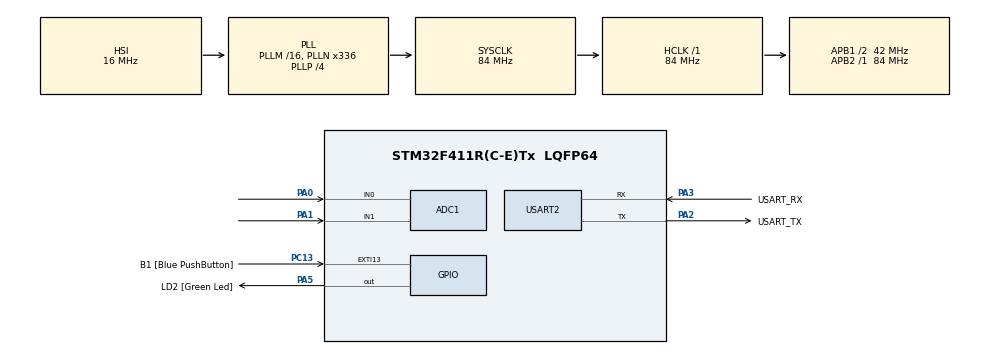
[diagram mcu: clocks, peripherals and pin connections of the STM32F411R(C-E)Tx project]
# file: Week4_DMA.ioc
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ADC1.Channel-0\#ChannelRegularConversion=ADC_CHANNEL_0
ADC1.Channel-1\#ChannelRegularConversion=ADC_CHANNEL_1
ADC1.Channel-2\#ChannelRegularConversion=ADC_CHANNEL_TEMPSENSOR
ADC1.Channel-3\#ChannelRegularConversion=ADC_CHANNEL_VREFINT
ADC1.ContinuousConvMode=ENABLE
ADC1.DMAContinuousRequests=ENABLE
ADC1.NbrOfConversion=4
ADC1.NbrOfConversionFlag=1
ADC1.Rank-0\#ChannelRegularConversion=1
ADC1.Rank-1\#ChannelRegularConversion=2
ADC1.Rank-2\#ChannelRegularConversion=3
ADC1.Rank-3\#ChannelRegularConversion=4
ADC1.SamplingTime-0\#ChannelRegularConversion=ADC_SAMPLETIME_480CYCLES
ADC1.SamplingTime-1\#ChannelRegularConversion=ADC_SAMPLETIME_480CYCLES
ADC1.SamplingTime-2\#ChannelRegularConversion=ADC_SAMPLETIME_480CYCLES
ADC1.SamplingTime-3\#ChannelRegularConversion=ADC_SAMPLETIME_480CYCLES
ADC1.master=1
Dma.ADC1.0.Direction=DMA_PERIPH_TO_MEMORY
Dma.ADC1.0.FIFOMode=DMA_FIFOMODE_DISABLE
Dma.ADC1.0.Instance=DMA2_Stream0
Dma.ADC1.0.MemDataAlignment=DMA_MDATAALIGN_WORD
Dma.ADC1.0.MemInc=DMA_MINC_ENABLE
Dma.ADC1.0.Mode=DMA_CIRCULAR
Dma.ADC1.0.PeriphDataAlignment=DMA_PDATAALIGN_WORD
Dma.ADC1.0.PeriphInc=DMA_PINC_DISABLE
Dma.ADC1.0.Priority=DMA_PRIORITY_LOW
Dma.Request0=ADC1
Mcu.Family=STM32F4
Mcu.Name=STM32F411R(C-E)Tx
Mcu.Package=LQFP64
NVIC.DMA2_Stream0_IRQn=true\:0\:0\:false\:false\:true\:false\:true
NVIC.EXTI15_10_IRQn=true\:0\:0\:false\:false\:true\:true\:true
NVIC.PriorityGroup=NVIC_PRIORITYGROUP_0
PA0-WKUP.Signal=ADCx_IN0
PA1.Signal=ADCx_IN1
PA13.GPIO_Label=TMS
PA13.Mode=Serial_Wire
PA13.Signal=SYS_JTMS-SWDIO
PA14.GPIO_Label=TCK
PA14.Mode=Serial_Wire
PA14.Signal=SYS_JTCK-SWCLK
PA2.GPIO_Label=USART_TX
PA2.Mode=Asynchronous
PA2.Signal=USART2_TX
PA3.GPIO_Label=USART_RX
PA3.Mode=Asynchronous
PA3.Signal=USART2_RX
PA5.GPIO_Label=LD2 [Green Led]
PA5.Signal=GPIO_Output
PB3.GPIO_Label=SWO
PB3.Signal=SYS_JTDO-SWO
PC13-ANTI_TAMP.GPIO_Label=B1 [Blue PushButton]
PC13-ANTI_TAMP.GPIO_ModeDefaultEXTI=GPIO_MODE_IT_RISING_FALLING
PC13-ANTI_TAMP.GPIO_PuPd=GPIO_PULLUP
PC13-ANTI_TAMP.Signal=GPXTI13
PC14-OSC32_IN.Mode=LSE-External-Oscillator
PC14-OSC32_IN.Signal=RCC_OSC32_IN
PC15-OSC32_OUT.Mode=LSE-External-Oscillator
PC15-OSC32_OUT.Signal=RCC_OSC32_OUT
PH0\ -\ OSC_IN.Mode=HSE-External-Clock-Source
PH0\ -\ OSC_IN.Signal=RCC_OSC_IN
PH1\ -\ OSC_OUT.Mode=HSE-External-Clock-Source
PH1\ -\ OSC_OUT.Signal=RCC_OSC_OUT
ProjectManager.HeapSize=0x200
ProjectManager.StackSize=0x400
ProjectManager.TargetToolchain=STM32CubeIDE
RCC.48MHZClocksFreq_Value=84000000
RCC.AHBFreq_Value=84000000
RCC.APB1CLKDivider=RCC_HCLK_DIV2
RCC.APB1Freq_Value=42000000
RCC.APB1TimFreq_Value=84000000
RCC.APB2Freq_Value=84000000
RCC.APB2TimFreq_Value=84000000
RCC.CortexFreq_Value=84000000
RCC.FLatency-AdvancedSettings=FLASH_LATENCY_2
RCC.HCLKFreq_Value=84000000
RCC.HSE_VALUE=8000000
RCC.HSI_VALUE=16000000
RCC.PLLN=336
RCC.PLLP=RCC_PLLP_DIV4
RCC.SYSCLKFreq_VALUE=84000000
RCC.SYSCLKSource=RCC_SYSCLKSOURCE_PLLCLK
RCC.VCOOutputFreq_Value=336000000
SH.ADCx_IN0.0=ADC1_IN0,IN0
SH.ADCx_IN1.0=ADC1_IN1,IN1
USART2.VirtualMode=VM_ASYNC
VP_ADC1_TempSens_Input.Mode=IN-TempSens
VP_ADC1_Vref_Input.Mode=IN-Vrefint
board=NUCLEO-F411RE

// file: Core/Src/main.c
/* USER CODE BEGIN Header */
/**
  ******************************************************************************
  * @file           : main.c
  * @brief          : Main program body
  ******************************************************************************
  * @attention
  *
  * <h2><center>&copy; Copyright (c) 2021 STMicroelectronics.
  * All rights reserved.</center></h2>
  *
  * This software component is licensed by ST under BSD 3-Clause license,
  * the "License"; You may not use this file except in compliance with the
  * License. You may obtain a copy of the License at:
  *                        opensource.org/licenses/BSD-3-Clause
  *
  ******************************************************************************
  */
/* USER CODE END Header */
#include "main.h"

ADC_HandleTypeDef hadc1;
DMA_HandleTypeDef hdma_adc1;

UART_HandleTypeDef huart2;

/* USER CODE BEGIN PV */
uint32_t ADCData[4] = {0};

uint32_t randomtime = 0;
uint32_t ButtonTimeStamp =0;
uint32_t TimeHand =0;
uint32_t SwitchState[2]={0};
int a=0;

/* USER CODE END PV */

void SystemClock_Config(void);
static void MX_GPIO_Init(void);
static void MX_DMA_Init(void);
static void MX_USART2_UART_Init(void);
static void MX_ADC1_Init(void);

int main(void)
{

  /* MCU Configuration--------------------------------------------------------*/

  /* Reset of all peripherals, Initializes the Flash interface and the Systick. */
  HAL_Init();

  /* Configure the system clock */
  SystemClock_Config();

  /* Initialize all configured peripherals */
  MX_GPIO_Init();
  MX_DMA_Init();
  MX_USART2_UART_Init();
  MX_ADC1_Init();
  /* USER CODE BEGIN 2 */
  HAL_ADC_Start_DMA(&hadc1, ADCData, 4);
  /* USER CODE END 2 */

  /* Infinite loop */
  /* USER CODE BEGIN WHILE */
  while (1)
  {
	  if(a==1)
	  {
		  if (HAL_GetTick() >= ButtonTimeStamp + randomtime)
		  {

			  a=2;

		   	  HAL_GPIO_WritePin(GPIOA, GPIO_PIN_5, GPIO_PIN_SET);
		   	  ButtonTimeStamp = HAL_GetTick();
		  }
	  }

    /* USER CODE END WHILE */

  }
}

void SystemClock_Config(void)
{
  RCC_OscInitTypeDef RCC_OscInitStruct = {0};
  RCC_ClkInitTypeDef RCC_ClkInitStruct = {0};

  /** Configure the main internal regulator output voltage
  */
  __HAL_RCC_PWR_CLK_ENABLE();
  __HAL_PWR_VOLTAGESCALING_CONFIG(PWR_REGULATOR_VOLTAGE_SCALE1);
  /** Initializes the RCC Oscillators according to the specified parameters
  * in the RCC_OscInitTypeDef structure.
  */
  RCC_OscInitStruct.OscillatorType = RCC_OSCILLATORTYPE_HSI;
  RCC_OscInitStruct.HSIState = RCC_HSI_ON;
  RCC_OscInitStruct.HSICalibrationValue = RCC_HSICALIBRATION_DEFAULT;
  RCC_OscInitStruct.PLL.PLLState = RCC_PLL_ON;
  RCC_OscInitStruct.PLL.PLLSource = RCC_PLLSOURCE_HSI;
  RCC_OscInitStruct.PLL.PLLM = 16;
  RCC_OscInitStruct.PLL.PLLN = 336;
  RCC_OscInitStruct.PLL.PLLP = RCC_PLLP_DIV4;
  RCC_OscInitStruct.PLL.PLLQ = 4;
  if (HAL_RCC_OscConfig(&RCC_OscInitStruct) != HAL_OK)
  {
    Error_Handler();
  }
  /** Initializes the CPU, AHB and APB buses clocks
  */
  RCC_ClkInitStruct.ClockType = RCC_CLOCKTYPE_HCLK|RCC_CLOCKTYPE_SYSCLK
                              |RCC_CLOCKTYPE_PCLK1|RCC_CLOCKTYPE_PCLK2;
  RCC_ClkInitStruct.SYSCLKSource = RCC_SYSCLKSOURCE_PLLCLK;
  RCC_ClkInitStruct.AHBCLKDivider = RCC_SYSCLK_DIV1;
  RCC_ClkInitStruct.APB1CLKDivider = RCC_HCLK_DIV2;
  RCC_ClkInitStruct.APB2CLKDivider = RCC_HCLK_DIV1;

  if (HAL_RCC_ClockConfig(&RCC_ClkInitStruct, FLASH_LATENCY_2) != HAL_OK)
  {
    Error_Handler();
  }
}

static void MX_ADC1_Init(void)
{

  ADC_ChannelConfTypeDef sConfig = {0};

  /** Configure the global features of the ADC (Clock, Resolution, Data Alignment and number of conversion)
  */
  hadc1.Instance = ADC1;
  hadc1.Init.ClockPrescaler = ADC_CLOCK_SYNC_PCLK_DIV4;
  hadc1.Init.Resolution = ADC_RESOLUTION_12B;
  hadc1.Init.ScanConvMode = ENABLE;
  hadc1.Init.ContinuousConvMode = ENABLE;
  hadc1.Init.DiscontinuousConvMode = DISABLE;
  hadc1.Init.ExternalTrigConvEdge = ADC_EXTERNALTRIGCONVEDGE_NONE;
  hadc1.Init.ExternalTrigConv = ADC_SOFTWARE_START;
  hadc1.Init.DataAlign = ADC_DATAALIGN_RIGHT;
  hadc1.Init.NbrOfConversion = 4;
  hadc1.Init.DMAContinuousRequests = ENABLE;
  hadc1.Init.EOCSelection = ADC_EOC_SINGLE_CONV;
  if (HAL_ADC_Init(&hadc1) != HAL_OK)
  {
    Error_Handler();
  }
  /** Configure for the selected ADC regular channel its corresponding rank in the sequencer and its sample time.
  */
  sConfig.Channel = ADC_CHANNEL_0;
  sConfig.Rank = 1;
  sConfig.SamplingTime = ADC_SAMPLETIME_480CYCLES;
  if (HAL_ADC_ConfigChannel(&hadc1, &sConfig) != HAL_OK)
  {
    Error_Handler();
  }
  /** Configure for the selected ADC regular channel its corresponding rank in the sequencer and its sample time.
  */
  sConfig.Channel = ADC_CHANNEL_1;
  sConfig.Rank = 2;
  if (HAL_ADC_ConfigChannel(&hadc1, &sConfig) != HAL_OK)
  {
    Error_Handler();
  }
  /** Configure for the selected ADC regular channel its corresponding rank in the sequencer and its sample time.
  */
  sConfig.Channel = ADC_CHANNEL_TEMPSENSOR;
  sConfig.Rank = 3;
  if (HAL_ADC_ConfigChannel(&hadc1, &sConfig) != HAL_OK)
  {
    Error_Handler();
  }
  /** Configure for the selected ADC regular channel its corresponding rank in the sequencer and its sample time.
  */
  sConfig.Channel = ADC_CHANNEL_VREFINT;
  sConfig.Rank = 4;
  if (HAL_ADC_ConfigChannel(&hadc1, &sConfig) != HAL_OK)
  {
    Error_Handler();
  }

}

static void MX_USART2_UART_Init(void)
{

  huart2.Instance = USART2;
  huart2.Init.BaudRate = 115200;
  huart2.Init.WordLength = UART_WORDLENGTH_8B;
  huart2.Init.StopBits = UART_STOPBITS_1;
  huart2.Init.Parity = UART_PARITY_NONE;
  huart2.Init.Mode = UART_MODE_TX_RX;
  huart2.Init.HwFlowCtl = UART_HWCONTROL_NONE;
  huart2.Init.OverSampling = UART_OVERSAMPLING_16;
  if (HAL_UART_Init(&huart2) != HAL_OK)
  {
    Error_Handler();
  }

}

static void MX_DMA_Init(void)
{

  /* DMA controller clock enable */
  __HAL_RCC_DMA2_CLK_ENABLE();

  /* DMA interrupt init */
  /* DMA2_Stream0_IRQn interrupt configuration */
  HAL_NVIC_SetPriority(DMA2_Stream0_IRQn, 0, 0);
  HAL_NVIC_EnableIRQ(DMA2_Stream0_IRQn);

}

static void MX_GPIO_Init(void)
{
  GPIO_InitTypeDef GPIO_InitStruct = {0};

  /* GPIO Ports Clock Enable */
  __HAL_RCC_GPIOC_CLK_ENABLE();
  __HAL_RCC_GPIOH_CLK_ENABLE();
  __HAL_RCC_GPIOA_CLK_ENABLE();
  __HAL_RCC_GPIOB_CLK_ENABLE();

  /*Configure GPIO pin Output Level */
  HAL_GPIO_WritePin(LD2_GPIO_Port, LD2_Pin, GPIO_PIN_SET);

  /*Configure GPIO pin : B1_Pin */
  GPIO_InitStruct.Pin = B1_Pin;
  GPIO_InitStruct.Mode = GPIO_MODE_IT_RISING_FALLING;
  GPIO_InitStruct.Pull = GPIO_PULLUP;
  HAL_GPIO_Init(B1_GPIO_Port, &GPIO_InitStruct);

  /*Configure GPIO pin : LD2_Pin */
  GPIO_InitStruct.Pin = LD2_Pin;
  GPIO_InitStruct.Mode = GPIO_MODE_OUTPUT_PP;
  GPIO_InitStruct.Pull = GPIO_NOPULL;
  GPIO_InitStruct.Speed = GPIO_SPEED_FREQ_LOW;
  HAL_GPIO_Init(LD2_GPIO_Port, &GPIO_InitStruct);

  /* EXTI interrupt init*/
  HAL_NVIC_SetPriority(EXTI15_10_IRQn, 0, 0);
  HAL_NVIC_EnableIRQ(EXTI15_10_IRQn);

}

/* USER CODE BEGIN 4 */
void HAL_GPIO_EXTI_Callback(uint16_t GPIO_Pin)
{

	if(GPIO_Pin == GPIO_PIN_13)
	{
		SwitchState[0] = HAL_GPIO_ReadPin(GPIOC, GPIO_PIN_13);

		randomtime = 1000 + ((22695477 * ADCData[0])+ ADCData[1]) % 10000 ;
		//SwitchState[0] = HAL_GPIO_ReadPin(GPIOC, GPIO_PIN_13);
		if(SwitchState[0] == GPIO_PIN_RESET )
		{
			a=1;

			HAL_GPIO_WritePin(GPIOA, GPIO_PIN_5, GPIO_PIN_RESET);
			ButtonTimeStamp = HAL_GetTick();

		}
		if(SwitchState[0] == GPIO_PIN_SET  && a==2)
		{
			a=3;
			TimeHand = HAL_GetTick() - ButtonTimeStamp;
		}
	}
}
/* USER CODE END 4 */

void Error_Handler(void)
{
  __disable_irq();
  while (1)
  {
  }
}

/************************ (C) COPYRIGHT STMicroelectronics *****END OF FILE****/
